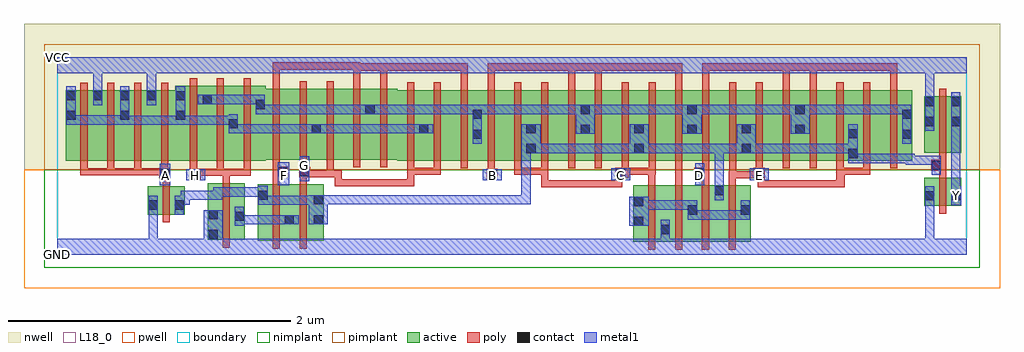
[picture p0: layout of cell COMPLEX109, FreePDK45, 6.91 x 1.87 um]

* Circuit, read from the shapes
.subckt COMPLEX109 A B C D E F G GND H VCC Y
M1 n1 A GND VSUBS nfet w=0.2u l=0.05u
M2 n2 H GND VSUBS nfet w=0.4u l=0.05u
M3 n2 F n1 VSUBS nfet w=0.4u l=0.05u
M4 n1 G n2 VSUBS nfet w=0.4u l=0.05u
M5 GND C n3 VSUBS nfet w=0.4u l=0.05u
M6 n3 B GND VSUBS nfet w=0.4u l=0.05u
M7 n1 D n3 VSUBS nfet w=0.4u l=0.05u
M8 n3 E n1 VSUBS nfet w=0.4u l=0.05u
M9 Y n1 GND VSUBS nfet w=0.2u l=0.05u
M10 VCC A n4 n5 pfet w=0.5u l=0.05u m=4
M11 n6 H n4 n5 pfet w=0.532u l=0.05u m=3
M12 n7 F n6 n5 pfet w=0.5u l=0.05u
M13 n4 G n7 n5 pfet w=0.5u l=0.05u
M14 n8 G n4 n5 pfet w=0.5u l=0.05u
M15 n6 F n8 n5 pfet w=0.5u l=0.05u
M16 n9 F n6 n5 pfet w=0.5u l=0.05u
M17 n4 G n9 n5 pfet w=0.5u l=0.05u
M18 n10 G n4 n5 pfet w=0.5u l=0.05u
M19 n6 F n10 n5 pfet w=0.5u l=0.05u
M20 n11 B n6 n5 pfet w=0.5u l=0.05u
M21 n1 C n11 n5 pfet w=0.5u l=0.05u
M22 n12 C n1 n5 pfet w=0.5u l=0.05u
M23 n6 B n12 n5 pfet w=0.5u l=0.05u
M24 n13 B n6 n5 pfet w=0.5u l=0.05u
M25 n1 C n13 n5 pfet w=0.5u l=0.05u
M26 n14 C n1 n5 pfet w=0.5u l=0.05u
M27 n6 B n14 n5 pfet w=0.5u l=0.05u
M28 n15 D n6 n5 pfet w=0.5u l=0.05u
M29 n1 E n15 n5 pfet w=0.5u l=0.05u
M30 n16 E n1 n5 pfet w=0.5u l=0.05u
M31 n6 D n16 n5 pfet w=0.5u l=0.05u
M32 n17 D n6 n5 pfet w=0.5u l=0.05u
M33 n1 E n17 n5 pfet w=0.5u l=0.05u
M34 n18 E n1 n5 pfet w=0.5u l=0.05u
M35 n6 D n18 n5 pfet w=0.5u l=0.05u
M36 Y n1 VCC n5 pfet w=0.4u l=0.05u
.ends

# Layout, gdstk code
import gdstk
lib = gdstk.Library(unit=1e-6, precision=1e-09)
def R(c, l, rs):  # rectangles x0, y0, x1, y1
    for r in rs: c.add(gdstk.rectangle(r[:2], r[2:], *l))
def A(c, l, x, y, w, h, nx, ny, dx, dy):  # array of equal rectangles
    R(c, l, [(x+i*dx, y+j*dy, x+i*dx+w, y+j*dy+h) for i in range(nx) for j in range(ny)])
active = (1, 0)
pwell = (2, 0)
nwell = (3, 0)
nimplant = (4, 0)
pimplant = (5, 0)
poly = (9, 0)
contact = (10, 0)
metal1 = (11, 0)
L18_0 = (18, 0)
boundary = (235, 0)

complex109 = lib.new_cell('COMPLEX109')
A(complex109, active, 0.06, 0.665, 0.265, 0.5, 3, 1, 0.19, 0)
A(complex109, active, 2.407, 0.667, 0.225, 0.5, 3, 1, 0.38, 0)
A(complex109, active, 2.557, 0.667, 0.23, 0.5, 3, 1, 0.38, 0)
A(complex109, active, 0.25, 0.807, 0.075, 0.358, 3, 1, 0.19, 0)
R(complex109, active, [(4.08,0.092,4.342,0.492), (4.267,0.092,4.535,0.492), (4.46,0.092,4.725,0.492), (4.65,0.092,4.91,0.492), (1.42,0.1,1.68,0.5), (1.605,0.1,1.887,0.5), (1.067,0.107,1.327,0.507), (1.067,0.107,1.142,0.507), (4.267,0.132,4.342,0.492), (1.252,0.147,1.327,0.507), (1.42,0.147,1.495,0.5), (1.605,0.147,1.68,0.492), (1.812,0.147,1.887,0.5), (4.08,0.147,4.155,0.492), (4.46,0.147,4.535,0.492), (4.65,0.147,4.725,0.492), (4.835,0.147,4.91,0.492), (0.642,0.285,0.717,0.485), (0.642,0.285,0.902,0.485), (0.827,0.315,0.902,0.485), (6.14,0.347,6.215,0.547), (6.14,0.347,6.4,0.547), (6.325,0.347,6.4,0.547), (0.06,0.665,0.135,1.165), (0.63,0.665,0.91,1.165), (0.835,0.665,1.1,1.197), (1.025,0.665,1.285,1.197), (1.21,0.665,1.475,1.197), (3.317,0.667,3.392,1.07), (3.547,0.667,3.777,1.167), (3.702,0.667,3.927,1.167), (3.927,0.667,4.157,1.167), (4.082,0.667,4.307,1.167), (4.307,0.667,4.532,1.167), (4.457,0.667,4.687,1.167), (4.687,0.667,4.917,1.167), (4.842,0.667,5.067,1.167), (5.067,0.667,5.297,1.167), (5.222,0.667,5.447,1.167), (5.447,0.667,5.672,1.167), (5.597,0.667,5.827,1.167), (5.597,0.667,5.672,1.07), (5.827,0.667,6.052,1.167), (5.977,0.667,6.052,1.157), (1.4,0.675,1.647,1.175), (1.647,0.675,1.872,1.175), (1.797,0.675,2.027,1.175), (2.027,0.675,2.252,1.175), (2.177,0.675,2.407,1.175), (1.797,0.682,1.872,1.07), (2.557,0.682,2.632,1.07), (4.082,0.682,4.157,1.07), (4.842,0.682,4.917,1.07), (6.14,0.722,6.4,1.122), (6.14,0.722,6.215,1.122), (6.325,0.722,6.4,1.122), (2.177,0.762,2.252,1.157), (2.937,0.762,3.012,1.157), (3.702,0.762,3.777,1.157), (4.457,0.762,4.532,1.157), (5.222,0.762,5.297,1.157), (1.025,0.775,1.1,1.19), (1.21,0.775,1.285,1.07), (1.4,0.782,1.475,1.167), (0.835,0.807,0.91,1.165)])
R(complex109, pwell, [(-0.235,-0.235,6.675,0.602)])
R(complex109, nwell, [(-0.235,0.602,6.675,1.635)])
R(complex109, nimplant, [(-0.09,-0.09,6.53,0.602)])
R(complex109, pimplant, [(-0.09,0.602,6.53,1.49)])
A(complex109, poly, 4.185, 0.037, 0.05, 0.51, 4, 1, 0.19, 0)
A(complex109, poly, 0.94, 0.56, 0.05, 0.1, 3, 1, 0.19, 0)
A(complex109, poly, 0.165, 0.565, 0.05, 0.095, 4, 1, 0.19, 0)
A(complex109, poly, 3.997, 0.567, 0.05, 0.095, 4, 1, 0.19, 0)
A(complex109, poly, 0.165, 0.61, 0.05, 0.61, 4, 1, 0.19, 0)
A(complex109, poly, 0.94, 0.61, 0.05, 0.642, 3, 1, 0.19, 0)
A(complex109, poly, 2.477, 0.612, 0.05, 0.61, 19, 1, 0.19, 0)
A(complex109, poly, 1.527, 0.62, 0.05, 0.61, 5, 1, 0.19, 0)
R(complex109, poly, [(1.525,0.045,1.575,0.555), (1.717,0.045,1.767,0.555), (1.172,0.052,1.222,0.562), (0.747,0.23,0.797,0.54), (6.245,0.292,6.295,0.602), (3.427,0.48,3.477,0.53), (3.427,0.48,3.477,0.53), (3.427,0.48,3.725,0.53), (3.427,0.48,3.477,0.617), (3.675,0.48,3.725,0.53), (3.675,0.48,3.725,0.53), (3.675,0.48,3.725,0.53), (3.675,0.48,3.857,0.53), (3.807,0.48,3.857,0.53), (3.807,0.48,4.002,0.53), (3.952,0.48,4.002,0.592), (4.96,0.48,5.187,0.53), (4.96,0.48,5.01,0.592), (5.137,0.48,5.187,0.53), (5.137,0.48,5.187,0.53), (5.137,0.48,5.187,0.53), (5.137,0.48,5.32,0.53), (5.27,0.48,5.32,0.53), (5.27,0.48,5.32,0.53), (5.27,0.48,5.32,0.53), (5.27,0.48,5.567,0.53), (5.517,0.48,5.577,0.617), (1.965,0.487,2.147,0.537), (1.965,0.487,2.015,0.6), (2.097,0.487,2.147,0.537), (2.097,0.487,2.395,0.537), (2.345,0.487,2.395,0.537), (2.345,0.487,2.395,0.537), (2.345,0.487,2.395,0.537), (2.345,0.487,2.527,0.537), (2.477,0.487,2.527,0.537), (2.477,0.487,2.527,0.537), (2.477,0.487,2.527,0.617), (0.747,0.49,0.797,0.59), (4.185,0.497,4.235,0.617), (4.375,0.497,4.425,0.617), (4.565,0.497,4.615,0.592), (4.755,0.497,4.805,0.592), (1.525,0.505,1.575,0.6), (1.717,0.505,1.767,0.6), (1.172,0.512,1.222,0.61), (0.94,0.535,1.017,0.61), (3.042,0.535,3.117,0.61), (0.722,0.54,0.797,0.615), (3.952,0.542,4.002,0.592), (3.952,0.542,4.047,0.617), (4.512,0.542,4.617,0.617), (4.755,0.542,4.807,0.592), (4.757,0.542,4.807,0.592), (4.757,0.542,4.807,0.592), (4.757,0.542,4.982,0.592), (4.757,0.542,4.807,0.662), (4.932,0.542,5.01,0.617), (4.96,0.542,5.01,0.592), (1.525,0.55,1.632,0.625), (1.715,0.55,1.79,0.625), (1.74,0.55,1.79,0.6), (1.74,0.55,1.79,0.6), (1.74,0.55,1.957,0.6), (1.907,0.55,1.957,0.6), (1.907,0.55,1.957,0.67), (1.907,0.55,2.015,0.6), (6.245,0.552,6.295,0.647), (0.967,0.56,1.18,0.61), (1.13,0.56,1.18,0.61), (1.13,0.56,1.18,0.61), (1.13,0.56,1.222,0.61), (1.172,0.56,1.37,0.61), (1.32,0.56,1.37,0.61), (1.32,0.56,1.37,0.61), (1.32,0.56,1.37,0.61), (3.047,0.56,3.097,0.662), (0.165,0.565,0.215,0.615), (0.165,0.565,0.405,0.615), (0.355,0.565,0.405,0.615), (0.355,0.565,0.405,0.615), (0.355,0.565,0.405,0.615), (0.355,0.565,0.595,0.615), (0.545,0.565,0.595,0.615), (0.545,0.565,0.595,0.615), (0.545,0.565,0.595,0.615), (0.545,0.565,0.772,0.615), (0.722,0.565,0.772,0.615), (0.722,0.565,0.772,0.615), (2.477,0.567,2.527,0.662), (2.477,0.567,2.717,0.617), (2.667,0.567,2.717,0.662), (2.667,0.567,2.717,0.617), (2.667,0.567,2.717,0.617), (2.667,0.567,2.717,0.617), (3.237,0.567,3.287,0.662), (3.237,0.567,3.287,0.617), (3.237,0.567,3.287,0.617), (3.237,0.567,3.287,0.617), (3.237,0.567,3.477,0.617), (3.427,0.567,3.477,0.662), (3.997,0.567,4.235,0.617), (4.185,0.567,4.235,0.617), (4.185,0.567,4.235,0.617), (4.185,0.567,4.237,0.617), (4.375,0.567,4.427,0.617), (4.947,0.567,4.997,0.662), (5.517,0.567,5.567,0.662), (5.527,0.567,5.577,0.617), (5.527,0.567,5.577,0.617), (5.527,0.567,5.757,0.617), (5.707,0.567,5.757,0.662), (5.707,0.567,5.757,0.617), (1.527,0.575,1.577,0.67), (1.717,0.575,1.767,0.67), (6.187,0.597,6.295,0.672), (6.245,0.622,6.295,0.717), (6.245,0.667,6.295,1.177), (2.857,1.172,2.907,1.355), (3.047,1.172,3.097,1.355), (3.617,1.172,3.667,1.355), (3.807,1.172,3.857,1.355), (4.377,1.172,4.427,1.355), (4.567,1.172,4.617,1.355), (5.137,1.172,5.187,1.355), (5.327,1.172,5.377,1.355), (5.897,1.172,5.947,1.355), (1.527,1.18,1.577,1.362), (2.097,1.18,2.147,1.355), (2.287,1.18,2.337,1.355), (2.097,1.305,2.337,1.355), (2.097,1.305,2.147,1.362), (2.287,1.305,2.337,1.355), (2.287,1.305,2.337,1.355), (2.287,1.305,2.337,1.355), (2.287,1.305,2.527,1.355), (2.477,1.305,2.527,1.355), (2.477,1.305,2.527,1.355), (2.477,1.305,2.527,1.355), (2.477,1.305,2.66,1.355), (2.61,1.305,2.66,1.355), (2.61,1.305,2.66,1.355), (2.61,1.305,2.66,1.355), (2.61,1.305,2.907,1.355), (2.857,1.305,2.907,1.355), (2.857,1.305,2.907,1.355), (2.857,1.305,2.907,1.355), (3.047,1.305,3.097,1.355), (3.047,1.305,3.097,1.355), (3.047,1.305,3.097,1.355), (3.047,1.305,3.345,1.355), (3.295,1.305,3.345,1.355), (3.295,1.305,3.345,1.355), (3.295,1.305,3.345,1.355), (3.295,1.305,3.497,1.355), (3.447,1.305,3.497,1.355), (3.447,1.305,3.497,1.355), (3.447,1.305,3.497,1.355), (3.447,1.305,3.667,1.355), (3.617,1.305,3.667,1.355), (3.617,1.305,3.667,1.355), (3.617,1.305,3.667,1.355), (3.617,1.305,3.857,1.355), (3.807,1.305,3.857,1.355), (3.807,1.305,3.857,1.355), (3.807,1.305,3.857,1.355), (3.807,1.305,3.99,1.355), (3.94,1.305,3.99,1.355), (3.94,1.305,4.18,1.355), (4.13,1.305,4.18,1.355), (4.13,1.305,4.18,1.355), (4.13,1.305,4.18,1.355), (4.13,1.305,4.427,1.355), (4.377,1.305,4.427,1.355), (4.377,1.305,4.427,1.355), (4.377,1.305,4.427,1.355), (4.567,1.305,4.617,1.355), (4.567,1.305,4.617,1.355), (4.567,1.305,4.617,1.355), (4.567,1.305,4.807,1.355), (4.757,1.305,4.807,1.355), (4.757,1.305,4.807,1.355), (4.757,1.305,4.807,1.355), (4.757,1.305,4.94,1.355), (4.89,1.305,4.94,1.355), (4.89,1.305,4.94,1.355), (4.89,1.305,4.94,1.355), (4.89,1.305,5.187,1.355), (5.137,1.305,5.187,1.355), (5.137,1.305,5.187,1.355), (5.137,1.305,5.187,1.355), (5.137,1.305,5.377,1.355), (5.327,1.305,5.377,1.355), (5.327,1.305,5.377,1.355), (5.327,1.305,5.377,1.355), (5.327,1.305,5.625,1.355), (5.575,1.305,5.625,1.355), (5.575,1.305,5.625,1.355), (5.575,1.305,5.625,1.355), (5.575,1.305,5.777,1.355), (5.727,1.305,5.777,1.355), (5.727,1.305,5.787,1.355), (5.737,1.305,5.947,1.355), (5.737,1.305,5.787,1.355), (5.897,1.305,5.947,1.355), (1.527,1.312,1.577,1.362), (1.527,1.312,1.577,1.362), (1.527,1.312,1.577,1.362), (1.527,1.312,1.825,1.362), (1.775,1.312,1.825,1.362), (1.775,1.312,1.825,1.362), (1.775,1.312,1.825,1.362), (1.775,1.312,1.957,1.362), (1.907,1.312,1.957,1.362), (1.907,1.312,2.147,1.362), (2.097,1.312,2.147,1.362), (2.097,1.312,2.147,1.362)])
A(complex109, contact, 1.802, 0.86, 0.065, 0.065, 3, 1, 0.76, 0)
A(complex109, contact, 0.065, 1.095, 0.065, 0.065, 4, 1, 0.19, 0)
R(complex109, contact, [(1.072,0.112,1.137,0.177), (4.272,0.147,4.337,0.212), (4.085,0.205,4.15,0.27), (1.61,0.217,1.675,0.282), (1.817,0.217,1.882,0.282), (1.257,0.24,1.322,0.305), (1.072,0.252,1.137,0.317), (4.465,0.285,4.53,0.35), (4.84,0.285,4.905,0.35), (0.647,0.32,0.712,0.385), (0.832,0.32,0.897,0.385), (4.085,0.345,4.15,0.41), (1.817,0.357,1.882,0.422), (6.145,0.387,6.21,0.452), (6.33,0.387,6.395,0.452), (1.425,0.39,1.49,0.455), (4.655,0.422,4.72,0.487), (0.947,0.54,1.012,0.605), (3.047,0.54,3.112,0.605), (0.727,0.545,0.792,0.61), (3.957,0.547,4.022,0.612), (4.517,0.547,4.582,0.612), (4.937,0.547,5.002,0.612), (1.562,0.555,1.627,0.62), (1.72,0.555,1.785,0.62), (6.192,0.602,6.257,0.667), (5.602,0.685,5.667,0.75), (3.322,0.72,3.387,0.785), (4.087,0.72,4.152,0.785), (4.847,0.72,4.912,0.785), (2.942,0.822,3.007,0.887), (5.982,0.822,6.047,0.887), (5.602,0.825,5.667,0.89), (3.707,0.857,3.772,0.922), (4.462,0.857,4.527,0.922), (5.227,0.857,5.292,0.922), (4.087,0.86,4.152,0.925), (4.847,0.86,4.912,0.925), (1.215,0.895,1.28,0.96), (6.145,0.912,6.21,0.977), (6.33,0.912,6.395,0.977), (0.065,0.955,0.13,1.02), (0.445,0.955,0.51,1.02), (0.84,0.955,0.905,1.02), (2.942,0.962,3.007,1.027), (5.982,0.962,6.047,1.027), (2.182,0.997,2.247,1.062), (3.707,0.997,3.772,1.062), (4.462,0.997,4.527,1.062), (5.227,0.997,5.292,1.062), (1.405,1.032,1.47,1.097), (6.145,1.052,6.21,1.117), (6.33,1.052,6.395,1.117), (1.03,1.067,1.095,1.132), (0.84,1.095,0.905,1.16)])
R(complex109, metal1, [(0,0,6.44,0.115), (0.647,0.05,0.712,0.35), (1.107,0.05,1.172,0.177), (4.272,0.05,4.337,0.177), (6.145,0.05,6.21,0.162), (6.145,0.097,6.21,0.162), (6.145,0.097,6.21,0.162), (6.145,0.097,6.21,0.162), (6.145,0.097,6.21,0.417), (1.037,0.112,1.172,0.317), (4.272,0.112,4.337,0.247), (1.257,0.205,1.322,0.34), (4.05,0.205,4.187,0.41), (1.257,0.217,1.322,0.282), (1.257,0.217,1.322,0.282), (1.257,0.217,1.49,0.282), (1.425,0.217,1.49,0.282), (1.425,0.217,1.49,0.282), (1.425,0.217,1.49,0.282), (1.425,0.217,1.64,0.282), (1.575,0.217,1.71,0.282), (1.782,0.217,1.917,0.422), (4.465,0.25,4.532,0.385), (4.467,0.25,4.532,0.315), (4.467,0.25,4.532,0.315), (4.467,0.25,4.7,0.315), (4.635,0.25,4.7,0.315), (4.635,0.25,4.83,0.315), (4.765,0.25,4.83,0.315), (4.765,0.25,4.905,0.315), (4.84,0.25,4.905,0.385), (0.647,0.285,0.712,0.42), (0.647,0.285,0.712,0.365), (0.647,0.285,0.712,0.365), (0.832,0.285,0.897,0.42), (0.647,0.3,0.712,0.365), (0.647,0.3,0.712,0.365), (4.122,0.32,4.187,0.385), (4.122,0.32,4.187,0.385), (4.122,0.32,4.325,0.385), (4.26,0.32,4.325,0.385), (4.26,0.32,4.325,0.385), (4.26,0.32,4.325,0.385), (4.26,0.32,4.53,0.385), (6.145,0.352,6.21,0.487), (6.33,0.352,6.402,0.487), (0.832,0.355,0.94,0.42), (0.875,0.355,0.94,0.455), (1.425,0.355,1.49,0.42), (1.425,0.355,1.49,0.42), (1.425,0.355,1.49,0.49), (1.425,0.355,1.627,0.42), (1.562,0.355,1.627,0.42), (1.562,0.355,1.627,0.42), (1.562,0.355,1.627,0.42), (1.562,0.355,1.847,0.42), (1.852,0.357,1.917,0.422), (1.852,0.357,1.917,0.422), (1.852,0.357,2.075,0.422), (2.01,0.357,2.075,0.422), (2.01,0.357,2.075,0.422), (2.01,0.357,2.075,0.422), (2.01,0.357,2.212,0.422), (2.147,0.357,2.212,0.422), (2.147,0.357,2.212,0.422), (2.147,0.357,2.212,0.422), (2.147,0.357,2.42,0.422), (2.355,0.357,2.42,0.422), (2.355,0.357,2.42,0.422), (2.355,0.357,2.42,0.422), (2.355,0.357,2.595,0.422), (2.53,0.357,2.595,0.422), (2.53,0.357,2.732,0.422), (2.667,0.357,2.732,0.422), (2.667,0.357,2.732,0.422), (2.667,0.357,2.732,0.422), (2.667,0.357,2.87,0.422), (2.805,0.357,2.87,0.422), (2.805,0.357,2.87,0.422), (2.805,0.357,2.87,0.422), (2.805,0.357,3.145,0.422), (3.08,0.357,3.145,0.422), (3.08,0.357,3.145,0.422), (3.08,0.357,3.145,0.422), (3.08,0.357,3.285,0.422), (3.22,0.357,3.285,0.422), (3.22,0.357,3.352,0.422), (3.287,0.357,3.352,0.422), (3.287,0.357,3.352,0.785), (4.655,0.387,4.72,0.522), (0.875,0.39,1.042,0.455), (0.977,0.39,1.042,0.455), (0.977,0.39,1.17,0.455), (1.105,0.39,1.17,0.477), (1.105,0.412,1.332,0.477), (1.267,0.412,1.332,0.477), (1.267,0.412,1.332,0.477), (1.267,0.412,1.332,0.477), (1.267,0.412,1.49,0.477), (6.33,0.422,6.395,0.942), (6.33,0.422,6.395,0.487), (6.33,0.422,6.395,0.487), (4.655,0.457,4.72,0.522), (4.655,0.457,4.72,0.522), (4.655,0.457,4.72,0.785), (0.727,0.492,0.802,0.645), (1.562,0.492,1.642,0.655), (4.517,0.492,4.582,0.647), (1.717,0.52,1.785,0.697), (0.912,0.527,1.047,0.605), (3.012,0.527,3.147,0.605), (3.922,0.527,4.057,0.612), (4.902,0.527,5.037,0.612), (6.192,0.567,6.257,0.702), (6.007,0.637,6.072,0.702), (6.007,0.637,6.257,0.702), (6.007,0.637,6.072,0.715), (6.192,0.637,6.257,0.702), (6.192,0.637,6.257,0.702), (5.602,0.65,5.667,0.925), (5.602,0.65,5.805,0.715), (5.74,0.65,5.805,0.715), (5.74,0.65,5.805,0.715), (5.74,0.65,5.805,0.715), (5.74,0.65,6.072,0.715), (6.007,0.65,6.072,0.715), (6.007,0.65,6.072,0.715), (6.007,0.65,6.072,0.715), (3.287,0.72,3.352,0.785), (3.287,0.72,3.352,0.785), (3.287,0.72,3.422,0.925), (3.357,0.72,3.422,0.785), (3.357,0.72,3.422,0.785), (3.357,0.72,3.56,0.785), (3.495,0.72,3.56,0.785), (3.495,0.72,3.56,0.785), (3.495,0.72,3.56,0.785), (3.495,0.72,3.697,0.785), (3.632,0.72,3.697,0.785), (3.632,0.72,3.697,0.785), (3.632,0.72,3.697,0.785), (3.632,0.72,3.977,0.785), (3.912,0.72,3.977,0.785), (3.912,0.72,3.977,0.785), (3.912,0.72,3.977,0.785), (3.912,0.72,4.117,0.785), (4.052,0.72,4.187,0.925), (4.122,0.72,4.187,0.785), (4.122,0.72,4.187,0.785), (4.122,0.72,4.325,0.785), (4.26,0.72,4.325,0.785), (4.26,0.72,4.325,0.785), (4.26,0.72,4.325,0.785), (4.26,0.72,4.555,0.785), (4.49,0.72,4.555,0.785), (4.49,0.72,4.555,0.785), (4.49,0.72,4.555,0.785), (4.49,0.72,4.72,0.785), (4.655,0.72,4.72,0.785), (4.655,0.72,4.83,0.785), (4.765,0.72,4.83,0.785), (4.765,0.72,4.877,0.785), (4.812,0.72,4.947,0.925), (4.882,0.72,5.12,0.785), (5.055,0.72,5.12,0.785), (5.055,0.72,5.12,0.785), (5.055,0.72,5.12,0.785), (5.055,0.72,5.257,0.785), (5.192,0.72,5.257,0.785), (5.192,0.72,5.257,0.785), (5.192,0.72,5.257,0.785), (5.192,0.72,5.465,0.785), (5.4,0.72,5.465,0.785), (5.4,0.72,5.465,0.785), (5.4,0.72,5.465,0.785), (5.4,0.72,5.667,0.785), (5.602,0.72,5.667,0.785), (5.602,0.72,5.667,0.785), (2.942,0.787,3.007,1.062), (5.982,0.787,6.047,1.062), (3.672,0.857,3.807,1.062), (4.427,0.857,4.562,1.062), (5.192,0.857,5.327,1.062), (1.215,0.86,1.28,0.995), (1.215,0.86,1.307,0.925), (1.242,0.86,1.307,0.925), (1.242,0.86,1.49,0.925), (1.425,0.86,1.49,0.925), (1.425,0.86,1.49,0.925), (1.425,0.86,1.49,0.925), (1.425,0.86,1.627,0.925), (1.562,0.86,1.627,0.925), (1.562,0.86,1.627,0.925), (1.562,0.86,1.627,0.925), (1.562,0.86,1.832,0.925), (1.767,0.86,1.902,0.925), (1.837,0.86,1.902,0.925), (1.837,0.86,1.902,0.925), (1.837,0.86,2.055,0.925), (1.99,0.86,2.055,0.925), (1.99,0.86,2.055,0.925), (1.99,0.86,2.055,0.925), (1.99,0.86,2.282,0.925), (2.217,0.86,2.282,0.925), (2.217,0.86,2.282,0.925), (2.217,0.86,2.282,0.925), (2.217,0.86,2.42,0.925), (2.355,0.86,2.42,0.925), (2.355,0.86,2.592,0.925), (2.527,0.86,2.592,0.925), (2.527,0.86,2.592,0.925), (2.527,0.86,2.662,0.925), (6.145,0.877,6.21,1.152), (6.33,0.877,6.395,1.152), (0.065,0.92,0.13,1.195), (0.445,0.92,0.51,1.195), (0.445,0.92,0.51,0.985), (0.445,0.92,0.51,0.985), (0.445,0.92,0.732,0.985), (0.667,0.92,0.732,0.985), (0.667,0.92,0.732,0.985), (0.667,0.92,0.732,0.985), (0.667,0.92,0.905,0.985), (0.84,0.92,0.905,1.195), (0.84,0.92,0.905,0.985), (0.84,0.92,0.905,0.985), (0.84,0.92,1.077,0.985), (1.012,0.92,1.077,0.985), (1.012,0.92,1.077,0.985), (1.012,0.92,1.077,0.985), (1.012,0.92,1.28,0.985), (0.065,0.922,0.13,0.987), (0.065,0.922,0.13,0.987), (0.065,0.922,0.267,0.987), (0.202,0.922,0.267,0.987), (0.202,0.922,0.267,0.987), (0.202,0.922,0.267,0.987), (0.202,0.922,0.51,0.987), (1.405,0.997,1.47,1.062), (1.405,0.997,1.47,1.062), (1.405,0.997,1.47,1.132), (1.405,0.997,1.695,1.062), (1.63,0.997,1.695,1.062), (1.63,0.997,1.695,1.062), (1.63,0.997,1.695,1.062), (1.63,0.997,1.832,1.062), (1.767,0.997,1.832,1.062), (1.767,0.997,1.832,1.062), (1.767,0.997,1.832,1.062), (1.767,0.997,2.055,1.062), (1.99,0.997,2.055,1.062), (1.99,0.997,2.055,1.062), (1.99,0.997,2.055,1.062), (1.99,0.997,2.212,1.062), (2.147,0.997,2.282,1.062), (2.217,0.997,2.282,1.062), (2.217,0.997,2.282,1.062), (2.217,0.997,2.42,1.062), (2.355,0.997,2.42,1.062), (2.355,0.997,2.595,1.062), (2.53,0.997,2.595,1.062), (2.53,0.997,2.595,1.062), (2.53,0.997,2.595,1.062), (2.53,0.997,2.732,1.062), (2.667,0.997,2.732,1.062), (2.667,0.997,2.732,1.062), (2.667,0.997,2.732,1.062), (2.667,0.997,2.87,1.062), (2.805,0.997,2.87,1.062), (2.805,0.997,3.007,1.062), (2.942,0.997,3.007,1.062), (2.942,0.997,3.007,1.062), (2.942,0.997,3.145,1.062), (3.08,0.997,3.145,1.062), (3.08,0.997,3.285,1.062), (3.22,0.997,3.285,1.062), (3.22,0.997,3.422,1.062), (3.357,0.997,3.422,1.062), (3.357,0.997,3.422,1.062), (3.357,0.997,3.422,1.062), (3.357,0.997,3.56,1.062), (3.495,0.997,3.56,1.062), (3.495,0.997,3.56,1.062), (3.495,0.997,3.56,1.062), (3.495,0.997,3.737,1.062), (3.742,0.997,3.807,1.062), (3.742,0.997,3.807,1.062), (3.742,0.997,3.945,1.062), (3.88,0.997,3.945,1.062), (3.88,0.997,3.945,1.062), (3.88,0.997,3.945,1.062), (3.88,0.997,4.187,1.062), (4.122,0.997,4.187,1.062), (4.122,0.997,4.187,1.062), (4.122,0.997,4.187,1.062), (4.122,0.997,4.355,1.062), (4.29,0.997,4.355,1.062), (4.29,0.997,4.355,1.062), (4.29,0.997,4.355,1.062), (4.29,0.997,4.492,1.062), (4.497,0.997,4.692,1.062), (4.627,0.997,4.692,1.062), (4.627,0.997,4.692,1.062), (4.627,0.997,4.692,1.062), (4.627,0.997,4.83,1.062), (4.765,0.997,4.83,1.062), (4.765,0.997,4.982,1.062), (4.917,0.997,4.982,1.062), (4.917,0.997,4.982,1.062), (4.917,0.997,4.982,1.062), (4.917,0.997,5.12,1.062), (5.055,0.997,5.12,1.062), (5.055,0.997,5.257,1.062), (5.192,0.997,5.257,1.062), (5.192,0.997,5.257,1.062), (5.262,0.997,5.465,1.062), (5.4,0.997,5.465,1.062), (5.4,0.997,5.465,1.062), (5.4,0.997,5.465,1.062), (5.4,0.997,5.667,1.062), (5.602,0.997,5.667,1.062), (5.602,0.997,5.667,1.062), (5.602,0.997,5.667,1.062), (5.602,0.997,5.91,1.062), (5.845,0.997,5.91,1.062), (5.845,0.997,5.91,1.062), (5.845,0.997,5.91,1.062), (5.845,0.997,6.047,1.062), (5.982,0.997,6.047,1.062), (5.982,0.997,6.047,1.062), (0.255,1.06,0.32,1.195), (0.635,1.06,0.7,1.195), (0.995,1.067,1.13,1.132), (1.065,1.067,1.13,1.132), (1.065,1.067,1.13,1.132), (1.065,1.067,1.332,1.132), (1.267,1.067,1.332,1.132), (1.267,1.067,1.332,1.132), (1.267,1.067,1.332,1.132), (1.267,1.067,1.47,1.132), (6.145,1.087,6.21,1.35), (0.255,1.13,0.32,1.195), (0.255,1.13,0.32,1.195), (0.255,1.13,0.32,1.35), (0.635,1.13,0.7,1.35), (0,1.285,6.44,1.4), (0.635,1.285,0.7,1.35), (0.635,1.285,0.7,1.35), (6.145,1.285,6.21,1.35), (6.145,1.285,6.21,1.35)])
R(complex109, L18_0, [(0,0,6.44,0.115), (0.647,0.05,0.712,0.35), (1.107,0.05,1.172,0.177), (4.272,0.05,4.337,0.177), (6.145,0.05,6.21,0.162), (6.145,0.097,6.21,0.162), (6.145,0.097,6.21,0.162), (6.145,0.097,6.21,0.162), (6.145,0.097,6.21,0.417), (1.037,0.112,1.172,0.317), (4.272,0.112,4.337,0.247), (0.647,0.285,0.712,0.42), (0.647,0.285,0.712,0.365), (0.647,0.285,0.712,0.365), (0.647,0.3,0.712,0.365), (0.647,0.3,0.712,0.365), (6.145,0.352,6.21,0.487), (6.33,0.352,6.402,0.487), (6.337,0.387,6.402,0.452), (6.33,0.422,6.395,0.487), (6.33,0.422,6.395,0.487), (6.33,0.422,6.395,0.942), (0.727,0.492,0.802,0.645), (1.562,0.492,1.642,0.655), (4.517,0.492,4.582,0.647), (1.717,0.52,1.785,0.697), (0.737,0.527,0.802,0.592), (0.912,0.527,1.047,0.605), (0.947,0.527,1.012,0.592), (1.577,0.527,1.642,0.592), (3.012,0.527,3.147,0.605), (3.047,0.527,3.112,0.592), (3.922,0.527,4.057,0.612), (3.957,0.527,4.022,0.592), (4.517,0.527,4.582,0.592), (4.902,0.527,5.037,0.612), (4.937,0.527,5.002,0.592), (1.717,0.597,1.782,0.662), (6.145,0.877,6.21,1.152), (6.33,0.877,6.395,1.152), (0.255,1.06,0.32,1.195), (0.635,1.06,0.7,1.195), (6.145,1.087,6.21,1.35), (0.255,1.13,0.32,1.195), (0.255,1.13,0.32,1.195), (0.255,1.13,0.32,1.35), (0.635,1.13,0.7,1.35), (0,1.285,6.44,1.4), (0.635,1.285,0.7,1.35), (0.635,1.285,0.7,1.35), (6.145,1.285,6.21,1.35), (6.145,1.285,6.21,1.35)])
R(complex109, boundary, [(0,0,6.44,1.4)])
complex109.add(gdstk.Label('A', (0.77,0.56), layer=11, texttype=0))
complex109.add(gdstk.Label('B', (3.08,0.56), layer=11, texttype=0))
complex109.add(gdstk.Label('C', (3.99,0.56), layer=11, texttype=0))
complex109.add(gdstk.Label('D', (4.55,0.56), layer=11, texttype=0))
complex109.add(gdstk.Label('E', (4.97,0.56), layer=11, texttype=0))
complex109.add(gdstk.Label('F', (1.61,0.56), layer=11, texttype=0))
complex109.add(gdstk.Label('G', (1.75,0.63), layer=11, texttype=0))
complex109.add(gdstk.Label('H', (0.98,0.56), layer=11, texttype=0))
complex109.add(gdstk.Label('Y', (6.37,0.42), layer=11, texttype=0))
complex109.add(gdstk.Label('VCC', (0,1.4), layer=11, texttype=0))
complex109.add(gdstk.Label('GND', (0,0), layer=11, texttype=0))

lib.write_gds('COMPLEX109.gds')
